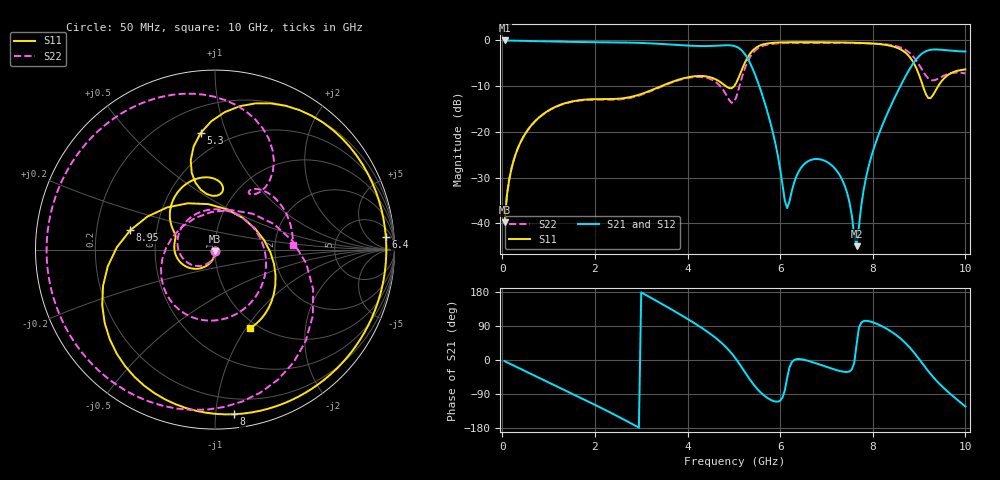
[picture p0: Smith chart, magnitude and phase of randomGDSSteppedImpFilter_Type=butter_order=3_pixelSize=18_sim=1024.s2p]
! freq	dB(S11)	phase(S11)	dB(S12)	phase(S12)
!  dB(S21)	phase(S21)	dB(S22)	phase(S22)
!S-par simulation data
#  GHz  S  DB  R 50
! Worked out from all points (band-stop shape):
!   200 points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, 50 MHz to 10 GHz, reference 50 ohm
!   highest |S21| = -0.02 dB at 50 MHz (marker M1); lowest = -45.0 dB at 7.65 GHz (marker M2)
!   |S21| within 3 dB of the highest: start of sweep to 5.238 GHz; 9.047 GHz to end of sweep
!   lowest |S11| = -39.8 dB at 50 MHz (marker M3), VSWR 1.02, Z = 50.1 - j1.02 ohm
!   |S11| at or under -10 dB: start of sweep to 3.431 GHz; 4.827 GHz to 5.007 GHz (180.3 MHz wide, 3.67 % of centre); 9.084 GHz to 9.412 GHz (328.4 MHz wide, 3.55 % of centre)
!   |S22| runs from -39.8 to -0.5 dB; largest |S21 - S12| = 0
!   S11 on the Smith chart (normalised r, x): 50 MHz: 1.00, -0.02; 5.3 GHz: 0.36, +0.82; 6.4 GHz: 13, +20; 8 GHz: 0.09, -1.12; 8.95 GHz: 0.35, +0.10; 10 GHz: 0.91, -1.05
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0.05  -39.78 -82.6  -0.02 -3.0  -0.02 -3.0  -39.80 -83.1
0.2  -27.93 -97.1  -0.05 -12.0  -0.05 -12.0  -27.97 -99.1
0.5  -20.33 -115.8  -0.11 -29.7  -0.11 -29.7  -20.37 -121.1
1.75  -12.98 -176.7  -0.37 -103.2  -0.37 -103.2  -13.07 149.6
2.65  -12.59 160.1  -0.47 -158.7  -0.47 -158.7  -12.78 61.1
3.4  -10.13 143.9  -0.76 151.1  -0.76 151.1  -10.27 -23.3
4.4  -7.87 95.2  -1.25 77.0  -1.25 77.0  -8.16 -120.0
4.8  -9.80 82.8  -1.08 37.6  -1.08 37.6  -11.30 177.7
5.05  -9.33 103.2  -1.37 2.1  -1.37 2.1  -12.48 68.0
5.3  -3.68 97.0  -3.99 -43.3  -3.99 -43.3  -4.59 -22.0
5.65  -0.83 58.8  -13.10 -93.3  -13.10 -93.3  -1.13 -86.6
6.15  -0.42 19.7  -36.67 -48.2  -36.67 -48.2  -0.58 -133.1
6.4  -0.40 4.2  -28.66 2.7  -28.66 2.7  -0.55 -149.2
6.7  -0.41 -12.9  -26.01 -5.8  -26.01 -5.8  -0.55 -166.0
7.35  -0.47 -47.3  -30.68 -30.6  -30.68 -30.6  -0.57 161.2
7.65  -0.53 -63.2  -44.97 40.9  -44.97 40.9  -0.61 146.1
8  -0.69 -83.4  -24.31 99.6  -24.31 99.6  -0.70 127.2
8.35  -1.12 -108.4  -15.18 78.8  -15.18 78.8  -0.97 105.3
8.7  -2.64 -146.4  -7.99 45.5  -7.99 45.5  -2.04 77.5
8.95  -6.30 167.1  -4.02 10.5  -4.02 10.5  -4.55 56.3
9.4  -10.19 -2.9  -2.00 -57.9  -2.00 -57.9  -8.43 59.8
10  -6.36 -66.1  -2.44 -122.8  -2.44 -122.8  -7.22 3.5
